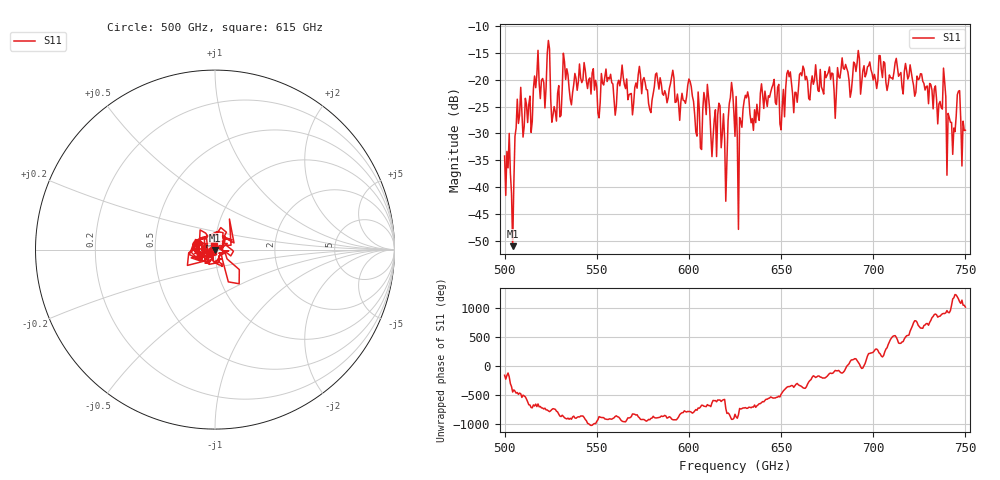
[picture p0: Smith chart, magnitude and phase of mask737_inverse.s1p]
!Created with skrf (http://scikit-rf.org).
# GHz S MA R 50.0
!freq magS11 angS11
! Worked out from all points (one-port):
!   401 points, 500 GHz to 750 GHz, reference 50 ohm
!   lowest |S11| = -51.0 dB at 504.4 GHz (marker M1), VSWR 1.01, Z = 50 - j0.281 ohm
!   |S11| at or under -10 dB: start of sweep to end of sweep
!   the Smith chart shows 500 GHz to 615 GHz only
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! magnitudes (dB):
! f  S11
! 500 GHz  -34.2
! 504.4 GHz  -51.0
! 508.1 GHz  -26.6
! 513.8 GHz  -23.0
! 516.9 GHz  -21.5
! 523.8 GHz  -12.7
! 526.9 GHz  -25.0
! 531.2 GHz  -21.8
! 562.5 GHz  -21.1
! 579.4 GHz  -26.1
! 590.6 GHz  -19.5
! 593.8 GHz  -22.7
! 600.6 GHz  -20.3
! 605.6 GHz  -25.5
! 609.4 GHz  -26.5
! 619.4 GHz  -31.0
! 622.5 GHz  -23.3
! 625 GHz  -30.5
! 625.6 GHz  -23.1
! 627.5 GHz  -27.0
! 631.2 GHz  -23.4
! 635 GHz  -29.4
! 640 GHz  -22.8
! 656.2 GHz  -22.6
! 687.5 GHz  -23.2
! 691.2 GHz  -16.9
! 718.8 GHz  -19.9
! 750 GHz  -29.4
